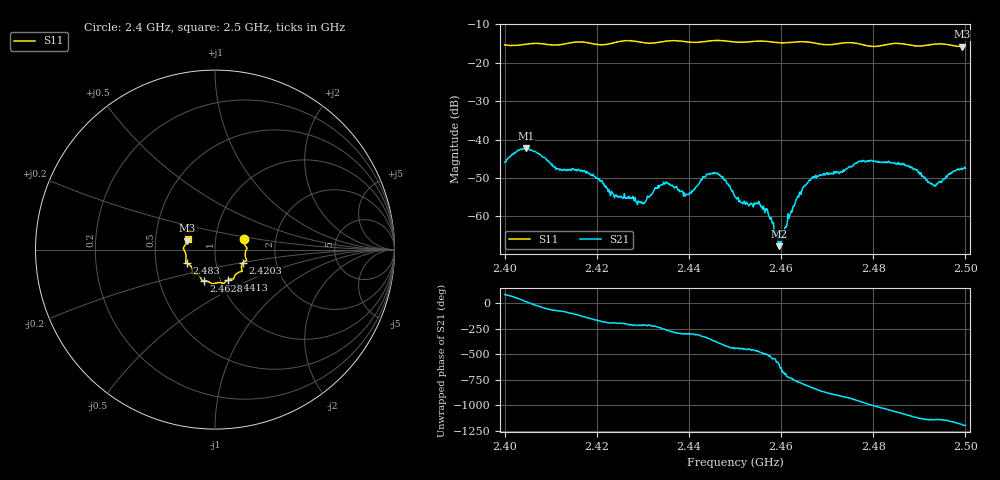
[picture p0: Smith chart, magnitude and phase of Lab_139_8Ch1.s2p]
# Hz S RI R 50
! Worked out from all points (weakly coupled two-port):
!   601 points, 2.4 GHz to 2.5 GHz, reference 50 ohm
!   highest |S21| = -42.21 dB at 2.4047 GHz (marker M1); lowest = -67.8 dB at 2.4595 GHz (marker M2)
!   lowest |S11| = -15.8 dB at 2.4993 GHz (marker M3), VSWR 1.39, Z = 36.5 + j3.71 ohm
!   |S11| at or under -10 dB: start of sweep to end of sweep
!   S12 and S22 are empty: the file has one direction only
!   S11 on the Smith chart (normalised r, x): 2.4 GHz: 1.37, +0.16; 2.4203 GHz: 1.35, -0.21; 2.4413 GHz: 1.09, -0.38; 2.4628 GHz: 0.83, -0.30; 2.483 GHz: 0.72, -0.11; 2.5 GHz: 0.73, +0.09
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2.4e9  0.161 0.0567  0.000515 0.00503  0 0  0 0
2.404667e9  0.1738 0.0144  0.00749 0.00201  0 0  0 0
2.411667e9  0.1681 -0.0282  0.00106 -0.00401  0 0  0 0
2.416667e9  0.1759 -0.0615  -0.00229 -0.00327  0 0  0 0
2.420333e9  0.1552 -0.074  -0.003 -0.000517  0 0  0 0
2.423333e9  0.1473 -0.1021  -0.00198 0.00049  0 0  0 0
2.429e9  0.1411 -0.1232  -0.00128 0.000925  0 0  0 0
2.433333e9  0.108 -0.1483  -0.00146 0.00206  0 0  0 0
2.439333e9  0.0914 -0.1638  0.00104 0.00162  0 0  0 0
2.441333e9  0.0743 -0.1684  0.00137 0.00182  0 0  0 0
2.445667e9  0.0503 -0.1878  0.00359 -0.000768  0 0  0 0
2.45e9  0.0294 -0.1837  0.000291 -0.00177  0 0  0 0
2.456667e9  -0.0157 -0.1894  -0.000999 -0.000764  0 0  0 0
2.4595e9  -0.0347 -0.1788  -0.000253 0.000321  0 0  0 0
2.462833e9  -0.0629 -0.1744  0.00115 -0.000726  0 0  0 0
2.466667e9  -0.0743 -0.1675  -0.000927 -0.00302  0 0  0 0
2.477333e9  -0.1242 -0.1216  -0.00202 0.00471  0 0  0 0
2.483e9  -0.1547 -0.0768  0.00385 0.00318  0 0  0 0
2.483333e9  -0.1569 -0.0759  0.00421 0.00307  0 0  0 0
2.493333e9  -0.1747 0.00251  0.00112 -0.00227  0 0  0 0
2.499333e9  -0.1545 0.0496  -0.00141 -0.00379  0 0  0 0
2.5e9  -0.1527 0.0586  -0.00201 -0.0037  0 0  0 0
